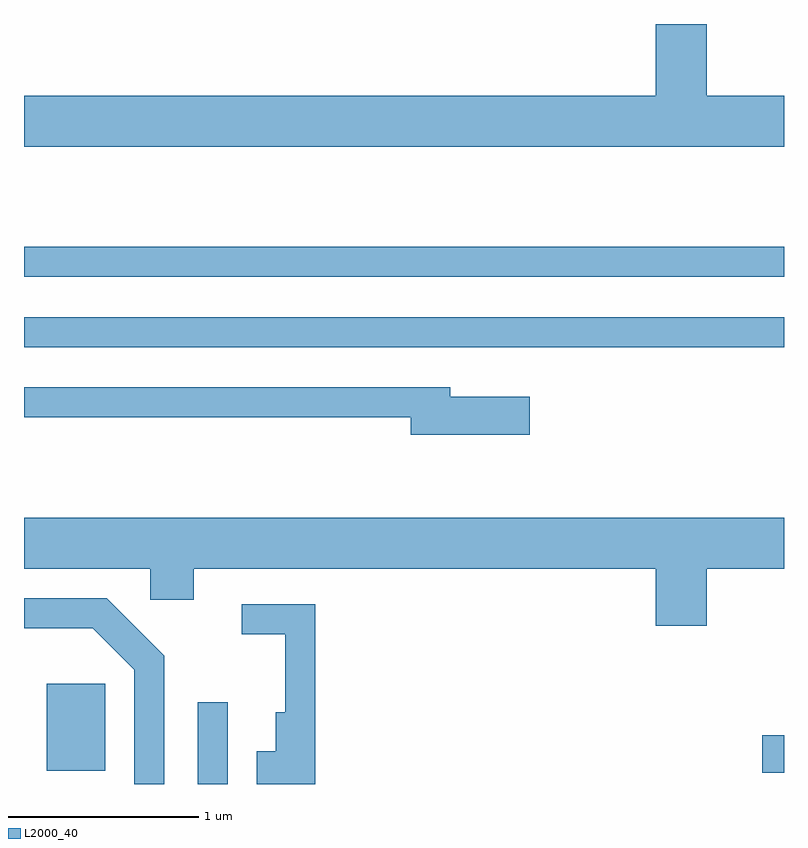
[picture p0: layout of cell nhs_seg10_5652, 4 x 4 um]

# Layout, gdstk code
import gdstk
lib = gdstk.Library(unit=1e-6, precision=1e-09)
def R(c, l, rs):  # rectangles x0, y0, x1, y1
    for r in rs: c.add(gdstk.rectangle(r[:2], r[2:], *l))
def P(c, l, *ps):  # polygons
    for p in ps: c.add(gdstk.Polygon(p, *l))
L2000_40 = (2000, 40)

nhs_seg10_5652 = lib.new_cell('nhs_seg10_5652')
R(nhs_seg10_5652, L2000_40, [(352.526,2150.522,352.684,2150.953), (355.496,2150.581,355.611,2150.779), (351.731,2150.591,352.039,2151.049), (351.611,2152.821,355.611,2152.979), (351.611,2153.191,355.611,2153.349)])
P(nhs_seg10_5652, L2000_40, [(355.611,2154.144),(355.204,2154.144),(355.204,2154.522),(354.936,2154.522),(354.936,2154.144),(351.611,2154.144),(351.611,2153.876),(355.611,2153.876)],
  [(354.274,2152.559),(353.854,2152.559),(353.854,2152.609),(351.611,2152.609),(351.611,2152.451),(353.646,2152.451),(353.646,2152.361),(354.274,2152.361)],
  [(355.204,2151.656),(355.611,2151.656),(355.611,2151.924),(351.611,2151.924),(351.611,2151.656),(352.276,2151.656),(352.276,2151.491),(352.504,2151.491),(352.504,2151.656),(354.936,2151.656),(354.936,2151.356),(355.204,2151.356)],
  [(352.349,2151.197),(352.047,2151.499),(351.611,2151.499),(351.611,2151.341),(351.974,2151.341),(352.191,2151.124),(352.191,2150.522),(352.349,2150.522)],
  [(353.144,2151.469),(352.758,2151.469),(352.758,2151.311),(352.986,2151.311),(352.986,2150.899),(352.936,2150.899),(352.936,2150.694),(352.836,2150.694),(352.836,2150.522),(353.144,2150.522)])

lib.write_gds('nhs_seg10_5652.gds')
